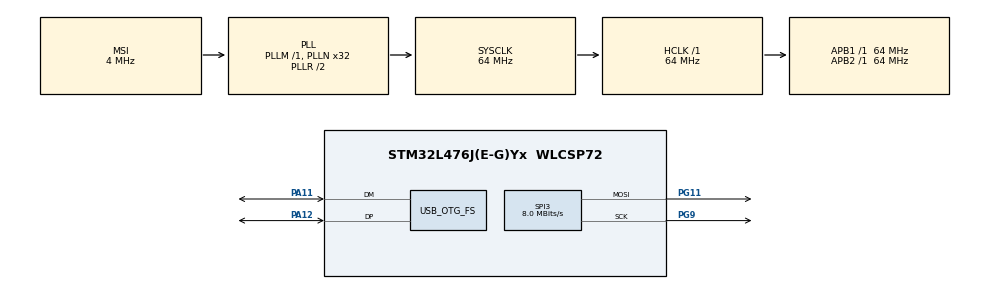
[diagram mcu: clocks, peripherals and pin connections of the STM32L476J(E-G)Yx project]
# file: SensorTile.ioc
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Dma.Request0=SPI3_TX
Dma.SPI3_TX.0.Direction=DMA_MEMORY_TO_PERIPH
Dma.SPI3_TX.0.Instance=DMA2_Channel2
Dma.SPI3_TX.0.MemDataAlignment=DMA_MDATAALIGN_BYTE
Dma.SPI3_TX.0.MemInc=DMA_MINC_ENABLE
Dma.SPI3_TX.0.Mode=DMA_NORMAL
Dma.SPI3_TX.0.PeriphDataAlignment=DMA_PDATAALIGN_BYTE
Dma.SPI3_TX.0.PeriphInc=DMA_PINC_DISABLE
Dma.SPI3_TX.0.Priority=DMA_PRIORITY_LOW
Mcu.Family=STM32L4
Mcu.Name=STM32L476J(E-G)Yx
Mcu.Package=WLCSP72
NVIC.DMA2_Channel2_IRQn=true\:0\:0\:false\:false\:true
NVIC.OTG_FS_IRQn=true\:0\:0\:false\:false\:true
NVIC.PriorityGroup=NVIC_PRIORITYGROUP_4
PA11.Mode=Device_Only
PA11.Signal=USB_OTG_FS_DM
PA12.GPIO_PuPd=GPIO_PULLUP
PA12.Mode=Device_Only
PA12.Signal=USB_OTG_FS_DP
PA13.Mode=Serial_Wire
PA13.Signal=SYS_JTMS-SWDIO
PA14.Mode=Serial_Wire
PA14.Signal=SYS_JTCK-SWCLK
PG11.Mode=TX_Only_Simplex_Unidirect_Master
PG11.Signal=SPI3_MOSI
PG9.Mode=TX_Only_Simplex_Unidirect_Master
PG9.Signal=SPI3_SCK
ProjectManager.HeapSize=0x1000
ProjectManager.StackSize=0x1000
ProjectManager.TargetToolchain=EWARM
RCC.ADCFreq_Value=48000000
RCC.AHBCLKDivider=RCC_SYSCLK_DIV1
RCC.AHBFreq_Value=64000000
RCC.APB1CLKDivider=RCC_HCLK_DIV1
RCC.APB1Freq_Value=64000000
RCC.APB1TimFreq_Value=64000000
RCC.APB2CLKDivider=RCC_HCLK_DIV1
RCC.APB2Freq_Value=64000000
RCC.APB2TimFreq_Value=64000000
RCC.ClockTypeHCLK=RCC_CLOCKTYPE_HCLK
RCC.ClockTypePCLK1=RCC_CLOCKTYPE_PCLK1
RCC.ClockTypePCLK2=RCC_CLOCKTYPE_PCLK2
RCC.ClockTypeSysClk=RCC_CLOCKTYPE_SYSCLK
RCC.CortexFreq_Value=64000000
RCC.Cortex_Div=SYSTICK_CLKSOURCE_HCLK
RCC.EnableCSSLSE=false
RCC.EnbaleCSS=false
RCC.HCLKFreq_Value=64000000
RCC.HSE_VALUE=8000000
RCC.HSI_VALUE=16000000
RCC.LSE_VALUE=32768
RCC.MSIClockRange=RCC_MSIRANGE_6
RCC.MSI_VALUE=4000000
RCC.PLLN=32
RCC.PLLP=RCC_PLLP_DIV7
RCC.PLLQ=RCC_PLLQ_DIV2
RCC.PLLR=RCC_PLLR_DIV2
RCC.PLLSAI1N=24
RCC.PLLSAI1P=RCC_PLLP_DIV7
RCC.PLLSAI1Q=RCC_PLLQ_DIV2
RCC.PLLSAI1R=RCC_PLLR_DIV2
RCC.PLLSAI2P=RCC_PLLP_DIV7
RCC.PLLSAI2R=RCC_PLLR_DIV2
RCC.RCC_MCODiv=RCC_MCODIV_1
RCC.SYSCLKFreq_VALUE=64000000
RCC.SYSCLKSource=RCC_SYSCLKSOURCE_PLLCLK
RCC.USBFreq_Value=48000000
RCC.VCOOutputFreq_Value=128000000
SPI3.BaudRatePrescaler=SPI_BAUDRATEPRESCALER_8
SPI3.CRCLength=SPI_CRC_LENGTH_DATASIZE
SPI3.CRCPolynomial=7
SPI3.CalculateBaudRate=8.0 MBits/s
SPI3.DataSize=SPI_DATASIZE_8BIT
SPI3.Direction=SPI_DIRECTION_2LINES
SPI3.Mode=SPI_MODE_MASTER
SPI3.VirtualType=VM_MASTER
USB_DEVICE.CLASS_NAME_FS=CDC
USB_DEVICE.USBD_CDC_INTERVAL=5
USB_DEVICE.USBD_HandleTypeDef_FS=hUsbDevice_OTG_FS
USB_DEVICE.VirtualMode=Cdc
USB_DEVICE.VirtualModeFS=Cdc_FS
USB_OTG_FS.VirtualMode=Device_Only
USB_OTG_FS.phy_itface=PCD_PHY_EMBEDDED
USB_OTG_FS.vbus_sensing_enable=DISABLE
VP_USB_DEVICE_VS_USB_DEVICE_CDC_FS.Mode=CDC_FS
board=SensorTile

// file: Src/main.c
/**
  ******************************************************************************
  * File Name          : main.c
  * Description        : Main program body
  ******************************************************************************
  *
  * Copyright (c) 2017 STMicroelectronics International N.V.
  * All rights reserved.
  *
  * Redistribution and use in source and binary forms, with or without
  * modification, are permitted, provided that the following conditions are met:
  *
  * 1. Redistribution of source code must retain the above copyright notice,
  *    this list of conditions and the following disclaimer.
  * 2. Redistributions in binary form must reproduce the above copyright notice,
  *    this list of conditions and the following disclaimer in the documentation
  *    and/or other materials provided with the distribution.
  * 3. Neither the name of STMicroelectronics nor the names of other
  *    contributors to this software may be used to endorse or promote products
  *    derived from this software without specific written permission.
  * 4. This software, including modifications and/or derivative works of this
  *    software, must execute solely and exclusively on microcontroller or
  *    microprocessor devices manufactured by or for STMicroelectronics.
  * 5. Redistribution and use of this software other than as permitted under
  *    this license is void and will automatically terminate your rights under
  *    this license.
  *
  * THIS SOFTWARE IS PROVIDED BY STMICROELECTRONICS AND CONTRIBUTORS "AS IS"
  * AND ANY EXPRESS, IMPLIED OR STATUTORY WARRANTIES, INCLUDING, BUT NOT
  * LIMITED TO, THE IMPLIED WARRANTIES OF MERCHANTABILITY, FITNESS FOR A
  * PARTICULAR PURPOSE AND NON-INFRINGEMENT OF THIRD PARTY INTELLECTUAL PROPERTY
  * RIGHTS ARE DISCLAIMED TO THE FULLEST EXTENT PERMITTED BY LAW. IN NO EVENT
  * SHALL STMICROELECTRONICS OR CONTRIBUTORS BE LIABLE FOR ANY DIRECT, INDIRECT,
  * INCIDENTAL, SPECIAL, EXEMPLARY, OR CONSEQUENTIAL DAMAGES (INCLUDING, BUT NOT
  * LIMITED TO, PROCUREMENT OF SUBSTITUTE GOODS OR SERVICES; LOSS OF USE, DATA,
  * OR PROFITS; OR BUSINESS INTERRUPTION) HOWEVER CAUSED AND ON ANY THEORY OF
  * LIABILITY, WHETHER IN CONTRACT, STRICT LIABILITY, OR TORT (INCLUDING
  * NEGLIGENCE OR OTHERWISE) ARISING IN ANY WAY OUT OF THE USE OF THIS SOFTWARE,
  * EVEN IF ADVISED OF THE POSSIBILITY OF SUCH DAMAGE.
  *
  ******************************************************************************
  */
#include "main.h"
#include "stm32l4xx_hal.h"
#include "dma.h"
#include "spi.h"
#include "usb_device.h"
#include "gpio.h"

/* USER CODE BEGIN Includes */
#include "string.h"
#include "Adafruit_NeoPixel.h"
#include "SensorTile.h"
#include "SensorTile_accelero.h"
#include "math.h"

/* USER CODE END Includes */

/* USER CODE BEGIN PV */
/* Private variables ---------------------------------------------------------*/

void MyPrintf(char *msg)
{
  CDC_Transmit_FS((uint8_t*)msg,strlen(msg));
}
/* USER CODE END PV */

void SystemClock_Config(void);
void Error_Handler(void);

/* USER CODE BEGIN PFP */
/* Private function prototypes -----------------------------------------------*/

/* USER CODE END PFP */

/* USER CODE BEGIN 0 */
typedef struct
{
  void *HandleAccSensor;
  void *HandleGyroSensor;
} TargetFeatures_t;

TargetFeatures_t TargetBoardFeatures;
SensorAxes_t  ACC_Value;
uint8_t WhoAmI;
char *str;
uint8_t R,G,B;
/* USER CODE END 0 */

int main(void)
{

  /* MCU Configuration----------------------------------------------------------*/

  /* Reset of all peripherals, Initializes the Flash interface and the Systick. */
  HAL_Init();

  /* Configure the system clock */
  SystemClock_Config();

  /* Initialize all configured peripherals */
  MX_GPIO_Init();
  MX_DMA_Init();
  MX_SPI3_Init();
  MX_USB_DEVICE_Init();

  /* USER CODE BEGIN 2 */
  HAL_Delay(5000);
  WS2812B_Init();
  //WS2812B_Test();
  BSP_LED_Init(LED1);

  MyPrintf("LED Init OK!\r\n");
  /* Reset all the Target's Features */
  memset(&TargetBoardFeatures, 0, sizeof(TargetFeatures_t));

  if(BSP_ACCELERO_Init(ACCELERO_SENSORS_AUTO, &TargetBoardFeatures.HandleAccSensor )!=COMPONENT_OK)
  {
    while(1)
    {
      BSP_LED_Toggle(LED1);
      HAL_Delay(100);
    }
  }
  MyPrintf("BSP_ACCELERO_Init OK!\r\n");
  HAL_Delay(1000);

  BSP_ACCELERO_Sensor_Enable(TargetBoardFeatures.HandleAccSensor );

  BSP_ACCELERO_Get_WhoAmI(TargetBoardFeatures.HandleAccSensor,&WhoAmI);
  if(LSM6DSM_ACC_GYRO_WHO_AM_I==WhoAmI)
  {
    MyPrintf("LSM6DSM Present!\r\n");
  }
  else
  {
    MyPrintf("LSM6DSM Error!\r\n");
  }

  /* USER CODE END 2 */

  /* Infinite loop */
  while (1)
  {

  /* USER CODE BEGIN 3 */
  // Main_loop();

    BSP_LED_Toggle(LED1);
    HAL_Delay(10);
    if(BSP_ACCELERO_Get_Axes(TargetBoardFeatures.HandleAccSensor,&ACC_Value)==COMPONENT_OK)
    {
        //sprintf(str,"X=%d Y=%d Z=%d\r\n",abs(ACC_Value.AXIS_X),abs(ACC_Value.AXIS_Y),abs(ACC_Value.AXIS_Z));
        //MyPrintf(str);
      R=255*abs(ACC_Value.AXIS_X)/(float)2000;
      G=255*abs(ACC_Value.AXIS_Y)/(float)2000;
      B=255*abs(ACC_Value.AXIS_Z)/(float)2000;
      setAllPixelColor(R, G, B);
    }
    else
    {
      MyPrintf("Read ACC error!\r\n");
    }
  }
  /* USER CODE END 3 */

}

/** System Clock Configuration
*/
void SystemClock_Config(void)
{

  RCC_OscInitTypeDef RCC_OscInitStruct;
  RCC_ClkInitTypeDef RCC_ClkInitStruct;
  RCC_PeriphCLKInitTypeDef PeriphClkInit;

    /**Initializes the CPU, AHB and APB busses clocks
    */
  RCC_OscInitStruct.OscillatorType = RCC_OSCILLATORTYPE_MSI;
  RCC_OscInitStruct.MSIState = RCC_MSI_ON;
  RCC_OscInitStruct.MSICalibrationValue = 0;
  RCC_OscInitStruct.MSIClockRange = RCC_MSIRANGE_6;
  RCC_OscInitStruct.PLL.PLLState = RCC_PLL_ON;
  RCC_OscInitStruct.PLL.PLLSource = RCC_PLLSOURCE_MSI;
  RCC_OscInitStruct.PLL.PLLM = 1;
  RCC_OscInitStruct.PLL.PLLN = 32;
  RCC_OscInitStruct.PLL.PLLP = RCC_PLLP_DIV7;
  RCC_OscInitStruct.PLL.PLLQ = RCC_PLLQ_DIV2;
  RCC_OscInitStruct.PLL.PLLR = RCC_PLLR_DIV2;
  if (HAL_RCC_OscConfig(&RCC_OscInitStruct) != HAL_OK)
  {
    Error_Handler();
  }

    /**Initializes the CPU, AHB and APB busses clocks
    */
  RCC_ClkInitStruct.ClockType = RCC_CLOCKTYPE_HCLK|RCC_CLOCKTYPE_SYSCLK
                              |RCC_CLOCKTYPE_PCLK1|RCC_CLOCKTYPE_PCLK2;
  RCC_ClkInitStruct.SYSCLKSource = RCC_SYSCLKSOURCE_PLLCLK;
  RCC_ClkInitStruct.AHBCLKDivider = RCC_SYSCLK_DIV1;
  RCC_ClkInitStruct.APB1CLKDivider = RCC_HCLK_DIV1;
  RCC_ClkInitStruct.APB2CLKDivider = RCC_HCLK_DIV1;

  if (HAL_RCC_ClockConfig(&RCC_ClkInitStruct, FLASH_LATENCY_3) != HAL_OK)
  {
    Error_Handler();
  }

  PeriphClkInit.PeriphClockSelection = RCC_PERIPHCLK_USB;
  PeriphClkInit.UsbClockSelection = RCC_USBCLKSOURCE_PLLSAI1;
  PeriphClkInit.PLLSAI1.PLLSAI1Source = RCC_PLLSOURCE_MSI;
  PeriphClkInit.PLLSAI1.PLLSAI1M = 1;
  PeriphClkInit.PLLSAI1.PLLSAI1N = 24;
  PeriphClkInit.PLLSAI1.PLLSAI1P = RCC_PLLP_DIV7;
  PeriphClkInit.PLLSAI1.PLLSAI1Q = RCC_PLLQ_DIV2;
  PeriphClkInit.PLLSAI1.PLLSAI1R = RCC_PLLR_DIV2;
  PeriphClkInit.PLLSAI1.PLLSAI1ClockOut = RCC_PLLSAI1_48M2CLK;
  if (HAL_RCCEx_PeriphCLKConfig(&PeriphClkInit) != HAL_OK)
  {
    Error_Handler();
  }

    /**Configure the main internal regulator output voltage
    */
  if (HAL_PWREx_ControlVoltageScaling(PWR_REGULATOR_VOLTAGE_SCALE1) != HAL_OK)
  {
    Error_Handler();
  }

    /**Configure the Systick interrupt time
    */
  HAL_SYSTICK_Config(HAL_RCC_GetHCLKFreq()/1000);

    /**Configure the Systick
    */
  HAL_SYSTICK_CLKSourceConfig(SYSTICK_CLKSOURCE_HCLK);

  /* SysTick_IRQn interrupt configuration */
  HAL_NVIC_SetPriority(SysTick_IRQn, 0, 0);
}

void Error_Handler(void)
{
  while(1)
  {
  }
}

/************************ (C) COPYRIGHT STMicroelectronics *****END OF FILE****/
